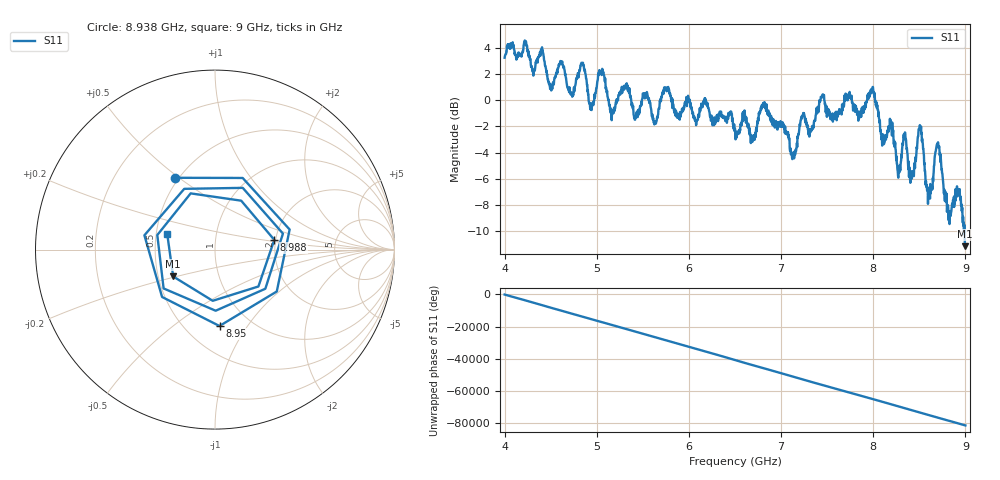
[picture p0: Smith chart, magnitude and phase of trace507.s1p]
! Created with skrf 1.8.0 (http://scikit-rf.org).
# Hz S RI R 50.0
!freq ReS11 ImS11
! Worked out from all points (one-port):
!   1601 points, 4 GHz to 9 GHz, reference 50 ohm
!   lowest |S11| = -11.1 dB at 8.997 GHz (marker M1), VSWR 1.77, Z = 29.9 - j9.7 ohm
!   |S11| at or under -10 dB: 8.98332 GHz to 8.98513 GHz (1.81 MHz wide, 0.0201 % of centre); 8.9911 GHz to end of sweep
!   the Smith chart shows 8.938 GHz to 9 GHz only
!   S11 on the Smith chart (normalised r, x): 8.938 GHz: 0.48, +0.48; 8.95 GHz: 0.72, -0.75; 8.988 GHz: 1.97, +0.24; 9 GHz: 0.57, +0.11
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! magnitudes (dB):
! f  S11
! 4 GHz  3.3
! 4.506 GHz  0.8
! 4.625 GHz  3.0
! 4.725 GHz  0.6
! 4.847 GHz  2.9
! 4.938 GHz  -0.7
! 5.047 GHz  2.2
! 5.159 GHz  -1.0
! 5.25 GHz  0.6
! 5.875 GHz  -1.1
! 6.5 GHz  -2.2
! 6.816 GHz  -0.5
! 7.125 GHz  -4.2
! 7.441 GHz  0.2
! 7.75 GHz  0.2
! 7.991 GHz  0.7
! 8.1 GHz  -3.2
! 8.375 GHz  -4.6
! 8.422 GHz  -5.8
! 8.509 GHz  -2.2
! 8.6 GHz  -6.9
! 8.7 GHz  -3.5
! 8.825 GHz  -9.4
! 8.938 GHz  -6.8
! 8.95 GHz  -7.4
! 8.988 GHz  -9.5
! 8.997 GHz  -11.1
! 9 GHz  -11.1
